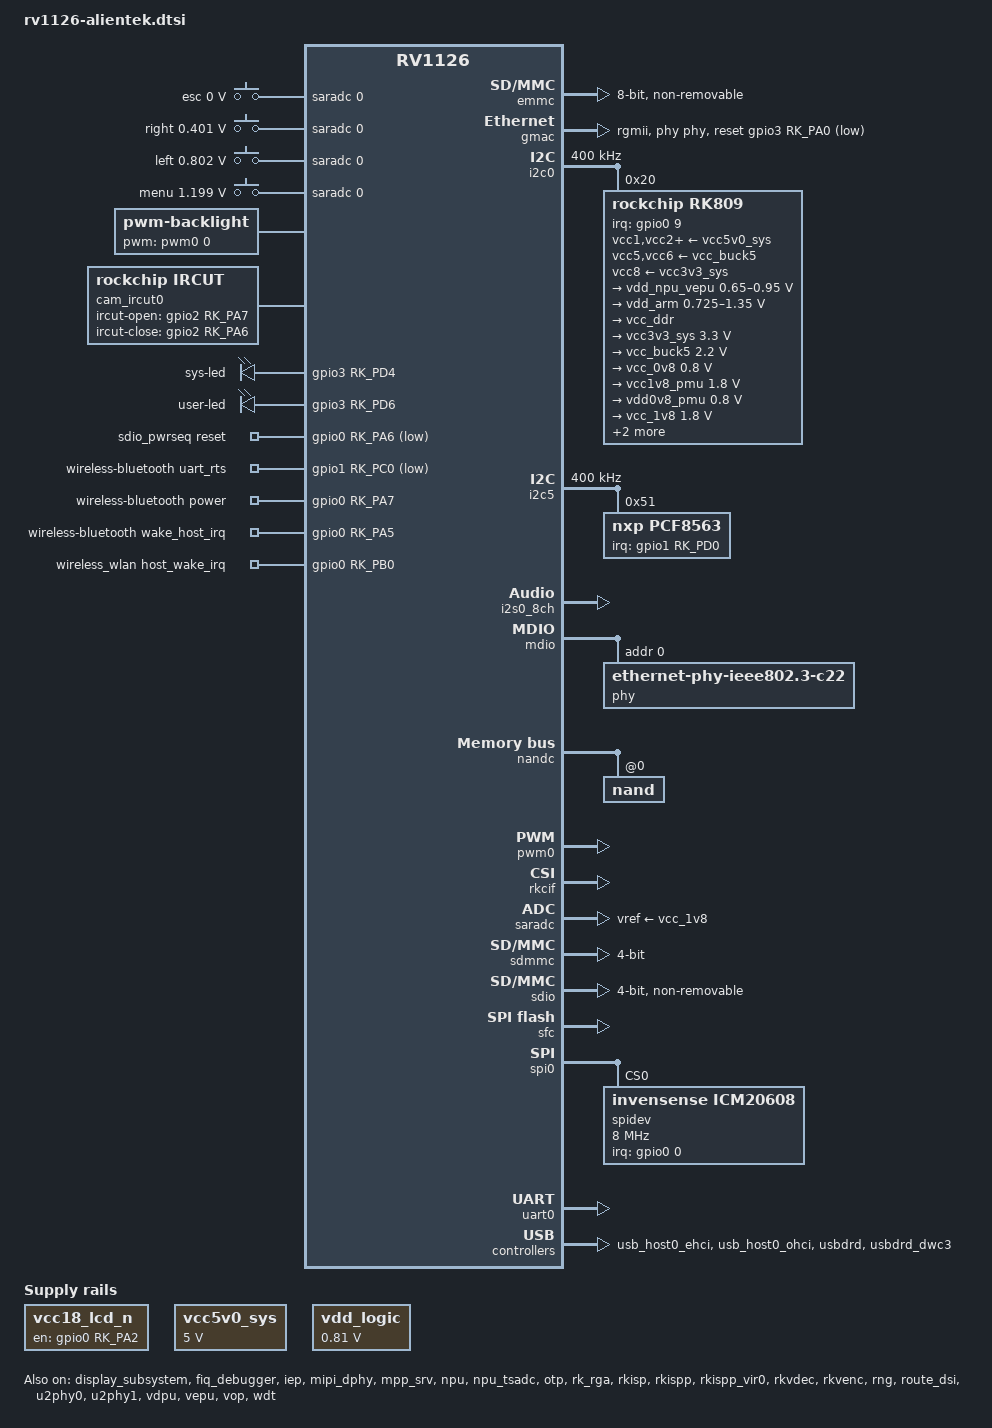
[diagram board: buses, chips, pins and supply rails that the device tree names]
// SPDX-License-Identifier: (GPL-2.0+ OR MIT)
/*
 * Copyright (c) 2019 Fuzhou Rockchip Electronics Co., Ltd.
 */

#include <dt-bindings/display/drm_mipi_dsi.h>
#include <dt-bindings/input/input.h>


/ {
	adc-keys {
		compatible = "adc-keys";
		io-channels = <&saradc 0>;
		io-channel-names = "buttons";
		poll-interval = <100>;
		keyup-threshold-microvolt = <1800000>;

		esc-key {
			label = "esc";
			linux,code = <KEY_ESC>;
			press-threshold-microvolt = <0>;
		};

		right-key {
			label = "right";
			linux,code = <KEY_RIGHT>;
			press-threshold-microvolt = <400781>;
		};

		left-key {
			label = "left";
			linux,code = <KEY_LEFT>;
			press-threshold-microvolt = <801562>;
		};

		menu-key {
			label = "menu";
			linux,code = <KEY_MENU>;
			press-threshold-microvolt = <1198828>;
		};
	};

	backlight: backlight {
		compatible = "pwm-backlight";
		pwms = <&pwm0 0 25000 0>;
		brightness-levels = <
			  0   1   2   3   4   5   6   7
			  8   9  10  11  12  13  14  15
			 16  17  18  19  20  21  22  23
			 24  25  26  27  28  29  30  31
			 32  33  34  35  36  37  38  39
			 40  41  42  43  44  45  46  47
			 48  49  50  51  52  53  54  55
			 56  57  58  59  60  61  62  63
			 64  65  66  67  68  69  70  71
			 72  73  74  75  76  77  78  79
			 80  81  82  83  84  85  86  87
			 88  89  90  91  92  93  94  95
			 96  97  98  99 100 101 102 103
			104 105 106 107 108 109 110 111
			112 113 114 115 116 117 118 119
			120 121 122 123 124 125 126 127
			128 129 130 131 132 133 134 135
			136 137 138 139 140 141 142 143
			144 145 146 147 148 149 150 151
			152 153 154 155 156 157 158 159
			160 161 162 163 164 165 166 167
			168 169 170 171 172 173 174 175
			176 177 178 179 180 181 182 183
			184 185 186 187 188 189 190 191
			192 193 194 195 196 197 198 199
			200 201 202 203 204 205 206 207
			208 209 210 211 212 213 214 215
			216 217 218 219 220 221 222 223
			224 225 226 227 228 229 230 231
			232 233 234 235 236 237 238 239
			240 241 242 243 244 245 246 247
			248 249 250 251 252 253 254 255>;
		default-brightness-level = <255>;
	};

	cam_ircut0: cam_ircut {
		status = "okay";
		compatible = "rockchip,ircut";
		ircut-open-gpios = <&gpio2 RK_PA7 GPIO_ACTIVE_HIGH>;
		ircut-close-gpios  = <&gpio2 RK_PA6 GPIO_ACTIVE_HIGH>;
		rockchip,camera-module-index = <1>;
		rockchip,camera-module-facing = "front";
	};

	dummy_codec: dummy-codec {
		compatible = "rockchip,dummy-codec";
		#sound-dai-cells = <0>;
	};

    leds {
        compatible = "gpio-leds";
        led1 {
            label = "sys-led";
            gpios = <&gpio3 RK_PD4 GPIO_ACTIVE_HIGH>;
            linux,default-trigger = "heartbeat";
            default-state = "on";
            status = "okay";
        };

        led2 {
            label = "user-led";
            gpios =<&gpio3 RK_PD6 GPIO_ACTIVE_HIGH>;
           linux,default-trigger = "none";
            default-state = "on";
            status = "okay";
        };
    };
	pdm_mic_array: pdm-mic_array {
		status = "disabled";
		compatible = "simple-audio-card";
		simple-audio-card,name = "rockchip,pdm-mic-array";
		simple-audio-card,cpu {
			sound-dai = <&pdm>;
		};
		simple-audio-card,codec {
			sound-dai = <&dummy_codec>;
		};
	};

	rk809_sound: rk809-sound {
		compatible = "simple-audio-card";
		simple-audio-card,format = "i2s";
		simple-audio-card,name = "rockchip,rk809-codec";
		simple-audio-card,mclk-fs = <256>;
		simple-audio-card,widgets =
			"Microphone", "Mic Jack",
			"Headphone", "Headphone Jack";
		simple-audio-card,routing =
			"Mic Jack", "MICBIAS1",
			"IN1P", "Mic Jack",
			"Headphone Jack", "HPOL",
			"Headphone Jack", "HPOR";
		simple-audio-card,cpu {
			sound-dai = <&i2s0_8ch>;
		};
		simple-audio-card,codec {
			sound-dai = <&rk809_codec>;
		};
	};


	sdio_pwrseq: sdio-pwrseq {
		compatible = "mmc-pwrseq-simple";
		pinctrl-names = "default";
		pinctrl-0 = <&wifi_enable_h>;

		/*
		 * On the module itself this is one of these (depending
		 * on the actual card populated):
		 * - SDIO_RESET_L_WL_REG_ON
		 * - PDN (power down when low)
		 */
		reset-gpios = <&gpio0 RK_PA6 GPIO_ACTIVE_LOW>;
	};

	vcc18_lcd_n: vcc18-lcd-n {
		compatible = "regulator-fixed";
		regulator-name = "vcc18_lcd_n";
		gpio = <&gpio0 RK_PA2 GPIO_ACTIVE_HIGH>;
        enable-active-high;
		regulator-boot-on;
	};

	vcc5v0_sys: vccsys {
		compatible = "regulator-fixed";
		regulator-name = "vcc5v0_sys";
		regulator-always-on;
		regulator-boot-on;
		regulator-min-microvolt = <5000000>;
		regulator-max-microvolt = <5000000>;
	};

    vdd_logic: vdd-logic {
        compatible = "regulator-fixed";
        regulator-name = "vdd_logic";
        regulator-always-on;
        regulator-boot-on;
        regulator-min-microvolt = <810000>;
        regulator-max-microvolt = <810000>;
    };

	wireless-bluetooth {
		compatible = "bluetooth-platdata";
		uart_rts_gpios = <&gpio1 RK_PC0 GPIO_ACTIVE_LOW>;
		pinctrl-names = "default", "rts_gpio";
		pinctrl-0 = <&uart0_rtsn>;
		pinctrl-1 = <&uart0_rtsn_gpio>;
		BT,power_gpio    = <&gpio0 RK_PA7 GPIO_ACTIVE_HIGH>;
		BT,wake_host_irq = <&gpio0 RK_PA5 GPIO_ACTIVE_HIGH>;
		status = "okay";
	};

	wireless_wlan: wireless-wlan {
		compatible = "wlan-platdata";
		rockchip,grf = <&grf>;
		clocks = <&rk809 1>;
		clock-names = "clk_wifi";
		pinctrl-names = "default";
		pinctrl-0 = <&wifi_wake_host>;
		wifi_chip_type = "ap6212";
		/* WIFI,poweren_gpio = <&gpio0 RK_PA6 GPIO_ACTIVE_HIGH>; */
		WIFI,host_wake_irq = <&gpio0 RK_PB0 GPIO_ACTIVE_HIGH>;
		status = "okay";
	};
};

&cpu0 {
	cpu-supply = <&vdd_arm>;
};

&cpu_tsadc {
	status = "okay";
};

&display_subsystem {
	status = "okay";
};

&emmc {
	bus-width = <8>;
	cap-mmc-highspeed;
	non-removable;
	mmc-hs200-1_8v;
	rockchip,default-sample-phase = <90>;
	supports-emmc;
	/delete-property/ pinctrl-names;
	/delete-property/ pinctrl-0;
	status = "okay";
};

&fiq_debugger {
	status = "okay";
};

&gmac {
	phy-mode = "rgmii";
	clock_in_out = "input";

	snps,reset-gpio = <&gpio3 RK_PA0 GPIO_ACTIVE_LOW>;
	snps,reset-active-low;
	/* Reset time is 20ms, 100ms for rtl8211f */
	snps,reset-delays-us = <0 20000 100000>;

	assigned-clocks = <&cru CLK_GMAC_SRC>, <&cru CLK_GMAC_TX_RX>, <&cru CLK_GMAC_ETHERNET_OUT>;
	assigned-clock-parents = <&cru CLK_GMAC_SRC_M1>, <&cru RGMII_MODE_CLK>;
	assigned-clock-rates = <125000000>, <0>, <25000000>;

	pinctrl-names = "default";
	pinctrl-0 = <&rgmiim1_miim &rgmiim1_bus2 &rgmiim1_bus4 &clkm1_out_ethernet>;

	tx_delay = <0x2a>;
	rx_delay = <0x1a>;

	phy-handle = <&phy>;
	status = "okay";
};

&i2c0 {
	status = "okay";
	clock-frequency = <400000>;

	rk809: pmic@20 {
		compatible = "rockchip,rk809";
		reg = <0x20>;
		interrupt-parent = <&gpio0>;
		interrupts = <9 IRQ_TYPE_LEVEL_LOW>;
		pinctrl-names = "default", "pmic-sleep",
			"pmic-power-off", "pmic-reset";
		pinctrl-0 = <&pmic_int>;
		pinctrl-1 = <&soc_slppin_gpio>, <&rk817_slppin_slp>;
		pinctrl-2 = <&soc_slppin_gpio>, <&rk817_slppin_pwrdn>;
		pinctrl-3 = <&soc_slppin_slp>, <&rk817_slppin_rst>;
		rockchip,system-power-controller;
		wakeup-source;
		#clock-cells = <1>;
		clock-output-names = "rk808-clkout1", "rk808-clkout2";
		/* 0: rst the pmic, 1: rst regs (default in codes) */
		pmic-reset-func = <0>;

		vcc1-supply = <&vcc5v0_sys>;
		vcc2-supply = <&vcc5v0_sys>;
		vcc3-supply = <&vcc5v0_sys>;
		vcc4-supply = <&vcc5v0_sys>;
		vcc5-supply = <&vcc_buck5>;
		vcc6-supply = <&vcc_buck5>;
		vcc7-supply = <&vcc5v0_sys>;
		vcc8-supply = <&vcc3v3_sys>;
		vcc9-supply = <&vcc5v0_sys>;

		pwrkey {
			status = "okay";
		};

		pinctrl_rk8xx: pinctrl_rk8xx {
			gpio-controller;
			#gpio-cells = <2>;

			/omit-if-no-ref/
			rk817_slppin_null: rk817_slppin_null {
				pins = "gpio_slp";
				function = "pin_fun0";
			};

			/omit-if-no-ref/
			rk817_slppin_slp: rk817_slppin_slp {
				pins = "gpio_slp";
				function = "pin_fun1";
			};

			/omit-if-no-ref/
			rk817_slppin_pwrdn: rk817_slppin_pwrdn {
				pins = "gpio_slp";
				function = "pin_fun2";
			};

			/omit-if-no-ref/
			rk817_slppin_rst: rk817_slppin_rst {
				pins = "gpio_slp";
				function = "pin_fun3";
			};
		};

		regulators {
            vdd_npu_vepu: DCDC_REG1 {
                regulator-always-on;
                regulator-boot-on;
                regulator-min-microvolt = <650000>;
                regulator-max-microvolt = <950000>;
                regulator-ramp-delay = <6001>;
                regulator-initial-mode = <0x2>;
                regulator-name = "vdd_npu_vepu";
                regulator-state-mem {
                    regulator-off-in-suspend;
                };
			};

			vdd_arm: DCDC_REG2 {
				regulator-always-on;
				regulator-boot-on;
				regulator-min-microvolt = <725000>;
				regulator-max-microvolt = <1350000>;
				regulator-ramp-delay = <6001>;
				regulator-initial-mode = <0x2>;
				regulator-name = "vdd_arm";
				regulator-state-mem {
					regulator-off-in-suspend;
				};
			};

			vcc_ddr: DCDC_REG3 {
				regulator-always-on;
				regulator-boot-on;
				regulator-initial-mode = <0x2>;
				regulator-name = "vcc_ddr";
				regulator-state-mem {
					regulator-on-in-suspend;
				};
			};

			vcc3v3_sys: DCDC_REG4 {
				regulator-always-on;
				regulator-boot-on;
				regulator-min-microvolt = <3300000>;
				regulator-max-microvolt = <3300000>;
				regulator-initial-mode = <0x2>;
				regulator-name = "vcc3v3_sys";
				regulator-state-mem {
					regulator-on-in-suspend;
					regulator-suspend-microvolt = <3300000>;
				};
			};

			vcc_buck5: DCDC_REG5 {
				regulator-always-on;
				regulator-boot-on;
				regulator-min-microvolt = <2200000>;
				regulator-max-microvolt = <2200000>;
				regulator-name = "vcc_buck5";
				regulator-state-mem {
					regulator-on-in-suspend;
					regulator-suspend-microvolt = <2200000>;
				};
			};

			vcc_0v8: LDO_REG1 {
				regulator-always-on;
				regulator-boot-on;
				regulator-min-microvolt = <800000>;
				regulator-max-microvolt = <800000>;
				regulator-name = "vcc_0v8";
				regulator-state-mem {
					regulator-off-in-suspend;
				};
			};

			vcc1v8_pmu: LDO_REG2 {
				regulator-always-on;
				regulator-boot-on;
				regulator-min-microvolt = <1800000>;
				regulator-max-microvolt = <1800000>;
				regulator-name = "vcc1v8_pmu";
				regulator-state-mem {
					regulator-on-in-suspend;
					regulator-suspend-microvolt = <1800000>;
				};
			};

			vdd0v8_pmu: LDO_REG3 {
				regulator-always-on;
				regulator-boot-on;
				regulator-min-microvolt = <800000>;
				regulator-max-microvolt = <800000>;
				regulator-name = "vcc0v8_pmu";
				regulator-state-mem {
					regulator-on-in-suspend;
					regulator-suspend-microvolt = <800000>;
				};
			};

			vcc_1v8: LDO_REG4 {
				regulator-always-on;
				regulator-boot-on;
				regulator-min-microvolt = <1800000>;
				regulator-max-microvolt = <1800000>;
				regulator-name = "vcc_1v8";
				regulator-state-mem {
					regulator-on-in-suspend;
					regulator-suspend-microvolt = <1800000>;
				};
			};

			vcc_dovdd: LDO_REG5 {
				regulator-boot-on;
				regulator-min-microvolt = <1800000>;
				regulator-max-microvolt = <1800000>;
				regulator-name = "vcc_dovdd";
				regulator-state-mem {
					regulator-off-in-suspend;
				};
			};

			vcc_dvdd: LDO_REG6 {
				regulator-min-microvolt = <1200000>;
				regulator-max-microvolt = <1200000>;
				regulator-name = "vcc_dvdd";
				regulator-state-mem {
					regulator-off-in-suspend;
				};
			};

			vcc_avdd: LDO_REG7 {
				regulator-min-microvolt = <2800000>;
				regulator-max-microvolt = <2800000>;
				regulator-name = "vcc_avdd";
				regulator-state-mem {
					regulator-off-in-suspend;
				};
			};

			vccio_sd: LDO_REG8 {
				regulator-always-on;
				regulator-boot-on;
				regulator-min-microvolt = <1800000>;
				regulator-max-microvolt = <3300000>;
				regulator-name = "vccio_sd";
				regulator-state-mem {
					regulator-off-in-suspend;
				};
			};

			vcc3v3_sd: LDO_REG9 {
				regulator-always-on;
				regulator-boot-on;
				regulator-min-microvolt = <3300000>;
				regulator-max-microvolt = <3300000>;
				regulator-name = "vcc3v3_sd";
				regulator-state-mem {
					regulator-off-in-suspend;
				};
			};

			vcc5v0_host: SWITCH_REG1 {
				regulator-name = "vcc5v0_host";
			};

			vcc_3v3: SWITCH_REG2 {
				regulator-always-on;
				regulator-boot-on;
				regulator-name = "vcc_3v3";
			};
		};

		rk809_codec: codec {
			#sound-dai-cells = <0>;
			compatible = "rockchip,rk809-codec", "rockchip,rk817-codec";
			clocks = <&cru MCLK_I2S0_TX_OUT2IO>;
			clock-names = "mclk";
			pinctrl-names = "default";
			assigned-clocks = <&cru MCLK_I2S0_TX_OUT2IO>;
			assigned-clock-parents = <&cru MCLK_I2S0_TX>;
			pinctrl-0 = <&i2s0m0_mclk>;
			hp-volume = <20>;
			spk-volume = <3>;
		};
	};
};

&i2c5 {
	status = "okay";
	clock-frequency = <400000>;

    pcf8563@51{
        compatible = "nxp,pcf8563";
        irq-gpio = <&gpio1 RK_PD0 IRQ_TYPE_EDGE_FALLING>;
        reg = <0x51>;
        #clock-cells = <0>;
    };
};

&i2s0_8ch {
	status = "okay";
	#sound-dai-cells = <0>;
	rockchip,clk-trcm = <1>;
	rockchip,i2s-rx-route = <3 1 2 0>;
	pinctrl-names = "default";
	pinctrl-0 = <&i2s0m0_sclk_tx
		     &i2s0m0_lrck_tx
		     &i2s0m0_sdo0
		     &i2s0m0_sdo1_sdi3>;
};

&iep {
	status = "okay";
};

&iep_mmu {
	status = "okay";
};

&mdio {
	phy: phy@0 {
		compatible = "ethernet-phy-ieee802.3-c22";
		reg = <0x0>;
		clocks = <&cru CLK_GMAC_ETHERNET_OUT>;
	};
};

&mipi_dphy {
	status = "okay";
};

&mpp_srv {
	status = "okay";
};

&nandc {
	/delete-property/ pinctrl-names;
	/delete-property/ pinctrl-0;
	#address-cells = <1>;
	#size-cells = <0>;

	nand@0 {
		reg = <0>;
		nand-bus-width = <8>;
		nand-ecc-mode = "hw";
		nand-ecc-strength = <16>;
		nand-ecc-step-size = <1024>;
	};
};

&npu {
	npu-supply = <&vdd_npu_vepu>;
	status = "okay";
};

&npu_tsadc {
	status = "okay";
};

&optee {
	status = "disabled";
};

&otp {
	status = "okay";
};

&pdm {
	status = "disabled";
	#sound-dai-cells = <0>;
	pinctrl-names = "default";
	pinctrl-0 = <&pdmm0_clk
		     &pdmm0_clk1
		     &pdmm0_sdi0
		     &pdmm0_sdi1
		     &pdmm0_sdi2>;
};

&pinctrl {
	pmic {
		/omit-if-no-ref/
		pmic_int: pmic_int {
			rockchip,pins =
				<0 RK_PB1 RK_FUNC_GPIO &pcfg_pull_up>;
		};

		/omit-if-no-ref/
		soc_slppin_gpio: soc_slppin_gpio {
			rockchip,pins =
				<0 RK_PB2 RK_FUNC_GPIO &pcfg_output_low>;
		};

		/omit-if-no-ref/
		soc_slppin_slp: soc_slppin_slp {
			rockchip,pins =
				<0 RK_PB2 RK_FUNC_1 &pcfg_pull_none>;
		};

		/omit-if-no-ref/
		soc_slppin_rst: soc_slppin_rst {
			rockchip,pins =
				<0 RK_PB2 RK_FUNC_2 &pcfg_pull_none>;
		};
	};

	sdio-pwrseq {
		/omit-if-no-ref/
		wifi_enable_h: wifi-enable-h {
			rockchip,pins = <0 RK_PA6 RK_FUNC_GPIO &pcfg_pull_none>;
		};
	};

	wireless-wlan {
		/omit-if-no-ref/
		wifi_wake_host: wifi-wake-host {
			rockchip,pins = <0 RK_PB0 0 &pcfg_pull_up>;
		};
	};

    touch-io {
        touch_gpio: touch-gpio {
            rockchip,pins = <2 RK_PB2 0 &pcfg_pull_up>;
        };
    };
};

&pmu_io_domains {
	status = "okay";

	pmuio0-supply = <&vcc1v8_pmu>;
	pmuio1-supply = <&vcc3v3_sys>;
	vccio2-supply = <&vccio_sd>;
	vccio3-supply = <&vcc_1v8>;
	vccio4-supply = <&vcc_1v8>;
	vccio5-supply = <&vcc_3v3>;
	vccio6-supply = <&vcc_1v8>;
	vccio7-supply = <&vcc_1v8>;
};

&pwm0 {
	status = "okay";
	pinctrl-names = "active";
	pinctrl-0 = <&pwm0m0_pins_pull_down>;
};

&ramoops {
	status = "okay";
};

&rk_rga {
	status = "okay";
};

&rkcif {
	status = "okay";
};

&rkcif_mmu {
	status = "disabled";
};

&rkisp {
	status = "okay";
};

&rkisp_mmu {
	status = "disabled";
};

&rkispp {
	status = "okay";
	/* the max input w h and fps of mulit sensor */
	//max-input = <2688 1520 30>;
};

&rkispp_vir0 {
	status = "okay";
};

&rkispp_mmu {
	status = "okay";
};

&rkvdec {
	status = "okay";
};

&rkvdec_mmu {
	status = "okay";
};

&rkvenc {
	venc-supply = <&vdd_npu_vepu>;
	status = "okay";
};

&rkvenc_opp_table {
    /*
     * max IR-drop values on different freq condition for this board!
     */
    rockchip,board-irdrop = <
         /* MHz MHz uV */
        500 594 50000
    >;
};

&rkvenc_mmu {
	status = "okay";
};

&rng {
	status = "okay";
};

&rockchip_suspend {
	status = "okay";
	rockchip,sleep-debug-en = <1>;
	rockchip,sleep-mode-config = <
		(0
		| RKPM_SLP_ARMOFF
		| RKPM_SLP_PMU_PMUALIVE_32K
		| RKPM_SLP_PMU_DIS_OSC
		| RKPM_SLP_PMIC_LP
		)
	>;
	rockchip,wakeup-config = <
		(0
		| RKPM_GPIO_WKUP_EN
		)
	>;
};

&route_dsi {
	status = "okay";
};

&saradc {
	status = "okay";
	vref-supply = <&vcc_1v8>;
};

&sdmmc {
	bus-width = <4>;
	cap-mmc-highspeed;
	cap-sd-highspeed;
	card-detect-delay = <200>;
	rockchip,default-sample-phase = <90>;
	supports-sd;
    no-1-8-v;
	sd-uhs-sdr12;
	sd-uhs-sdr25;
	sd-uhs-sdr104;
	vqmmc-supply = <&vccio_sd>;
	status = "okay";
};

&sdio {
	max-frequency = <200000000>;
	bus-width = <4>;
	cap-sd-highspeed;
	cap-sdio-irq;
	keep-power-in-suspend;
	non-removable;
	rockchip,default-sample-phase = <90>;
	sd-uhs-sdr104;
	supports-sdio;
	mmc-pwrseq = <&sdio_pwrseq>;
	status = "okay";
};

&sfc {
	/delete-property/ pinctrl-names;
	/delete-property/ pinctrl-0;
	status = "okay";
};

&spi0 {
    status = "okay";
    max-freq = <50000000>;
    pinctrl-names = "default", "high_speed" ;
		pinctrl-0 = <&spi0m1_cs0 &spi0m1_cs1 &spi0m1_pins>;
		pinctrl-1 = <&spi0m1_cs0 &spi0m1_cs1 &spi0m1_pins_hs>;
    spidev: icm20608@00 {
        compatible = "invensense,icm20608";
        interrupt-parent = <&gpio0>;
        interrupts = <0 IRQ_TYPE_LEVEL_LOW>;
        spi-max-frequency = <8000000>;
        reg = <0>;
    };  
};

&u2phy0 {
	status = "okay";
	vup-gpios = <&gpio0 RK_PC1 GPIO_ACTIVE_LOW>;
	u2phy_otg: otg-port {
		status = "okay";
	};
};

&u2phy1 {
	status = "okay";
	u2phy_host: host-port {
		status = "okay";
		phy-supply = <&vcc5v0_host>;
	};
};

&uart0 {
	pinctrl-names = "default";
	pinctrl-0 = <&uart0_xfer &uart0_ctsn>;
	status = "okay";
};

&usb_host0_ehci {
	status = "okay";
};

&usb_host0_ohci {
	status = "okay";
};

&usbdrd {
	status = "okay";
};

&usbdrd_dwc3 {
	status = "okay";
	extcon = <&u2phy0>;
};

&vdpu {
	status = "okay";
};

&vepu {
	status = "okay";
};

&vpu_mmu {
	status = "okay";
};

&vop {
	status = "okay";
};

&vop_mmu {
	status = "okay";
};

&wdt {
    status = "okay";
};
